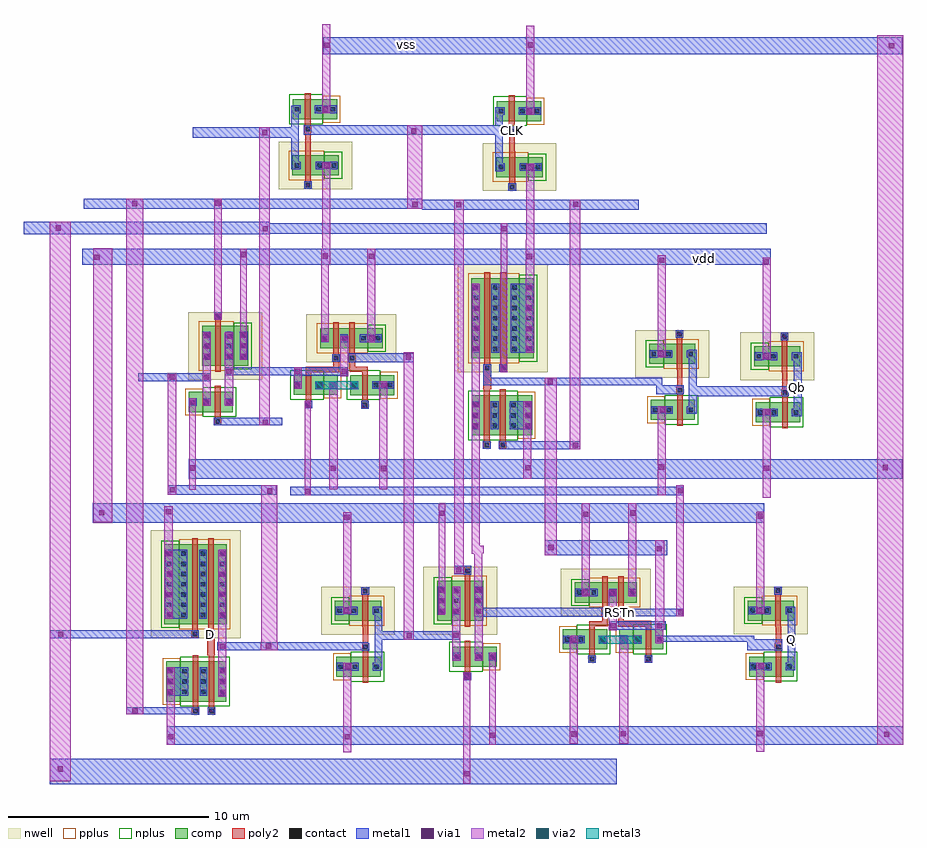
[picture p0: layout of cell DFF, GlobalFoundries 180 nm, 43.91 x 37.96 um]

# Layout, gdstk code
from math import pi, radians
import gdstk
lib = gdstk.Library(unit=1e-6, precision=5e-09)
def R(c, l, rs):  # rectangles x0, y0, x1, y1
    for r in rs: c.add(gdstk.rectangle(r[:2], r[2:], *l))
def A(c, l, x, y, w, h, nx, ny, dx, dy):  # array of equal rectangles
    R(c, l, [(x+i*dx, y+j*dy, x+i*dx+w, y+j*dy+h) for i in range(nx) for j in range(ny)])
nwell = (21, 0)
comp = (22, 0)
poly2 = (30, 0)
pplus = (31, 0)
nplus = (32, 0)
contact = (33, 0)
metal1 = (34, 0)
via1 = (35, 0)
metal2 = (36, 0)
via2 = (38, 0)
metal3 = (42, 0)

nfet_1 = lib.new_cell('nfet$1')
R(nfet_1, comp, [(-0.185,-0.05,0.525,0.95), (0.525,-0.05,0.945,0.95), (0.945,-0.05,1.605,0.95), (1.605,-0.05,2.025,0.95)])
R(nfet_1, poly2, [(1.095,-0.71,1.455,-0.35), (1.135,-0.35,1.415,1.25)])
R(nfet_1, pplus, [(-0.355,-0.22,0.525,1.12)])
R(nfet_1, nplus, [(0.525,-0.29,2.195,1.19)])
R(nfet_1, contact, [(1.165,-0.64,1.385,-0.42), (-0.085,0.34,0.135,0.56), (0.625,0.34,0.845,0.56), (1.705,0.34,1.925,0.56)])
R(nfet_1, metal1, [(1.085,-0.72,1.465,-0.34), (-0.165,0.26,0.215,0.64), (0.545,0.26,0.925,0.64), (1.625,0.26,2.005,0.64)])

pfet_1 = lib.new_cell('pfet$1')
R(pfet_1, nwell, [(-2.835,-0.64,0.855,2.74)])
R(pfet_1, comp, [(-2.145,0.05,-1.415,2.05), (-1.415,0.05,-0.955,2.05), (-0.955,0.05,-0.295,2.05), (-0.295,0.05,0.165,2.05)])
R(pfet_1, poly2, [(-0.815,-0.63,-0.435,-0.25), (-0.765,-0.25,-0.485,2.35)])
R(pfet_1, pplus, [(-1.415,-0.19,0.335,2.29)])
R(pfet_1, nplus, [(-2.315,-0.12,-1.415,2.22)])
A(pfet_1, contact, -2.025, 0.43, 0.22, 0.22, 1, 3, 0, 0.51)
A(pfet_1, contact, -1.295, 0.43, 0.22, 0.22, 1, 3, 0, 0.51)
A(pfet_1, contact, -0.175, 0.43, 0.22, 0.22, 1, 3, 0, 0.51)
R(pfet_1, contact, [(-0.735,-0.55,-0.515,-0.33)])
R(pfet_1, metal1, [(-0.815,-0.63,-0.435,-0.25), (-2.105,0.35,-1.725,1.75), (-1.375,0.35,-0.995,1.75), (-0.255,0.35,0.125,1.75)])

c_tg = lib.new_cell('TG')
R(c_tg, via1, [(-0.075,0.755,0.185,1.015), (0.625,0.76,0.885,1.02), (1.715,0.77,1.975,1.03), (0.64,3.035,0.9,3.295), (2.455,3.035,2.715,3.295), (1.75,3.045,2.01,3.305), (1.75,3.045,2.01,3.305), (0.635,3.56,0.895,3.82), (2.465,3.57,2.725,3.83), (1.74,4.055,2,4.315), (0.625,4.085,0.885,4.345), (2.465,4.095,2.725,4.355)])
R(c_tg, metal2, [(-0.115,-3.49,0.215,1.085), (0.555,0.7,0.95,4.385), (1.66,0.705,2.065,4.385), (2.415,2.995,2.755,8.55)])
c_tg.add(gdstk.Reference(nfet_1, (0.03,0.445)))
c_tg.add(gdstk.Reference(pfet_1, (0.685,4.745), rotation=pi))
c_tg.add(gdstk.Label('vdd', (2.57,3.955), layer=34, texttype=10))
c_tg.add(gdstk.Label('vss', (0.065,0.89), layer=34, texttype=10))
c_tg.add(gdstk.Label('c', (1.295,-0.1), layer=34, texttype=10))
c_tg.add(gdstk.Label('cbar', (1.295,5.16), layer=34, texttype=10))

pfet_1_1 = lib.new_cell('pfet$1$1')
R(pfet_1_1, nwell, [(-1.36,-1.15,3.13,4.23)])
R(pfet_1_1, comp, [(-0.67,-0.46,-0.21,3.54), (-0.21,-0.46,1.25,3.54), (1.25,-0.46,1.71,3.54), (1.71,-0.46,2.44,3.54)])
R(pfet_1_1, poly2, [(-0.02,-0.76,0.26,3.84), (0.78,-0.76,1.06,3.84), (-0.07,3.84,0.31,4.22), (0.73,3.84,1.11,4.22)])
R(pfet_1_1, pplus, [(-0.84,-0.7,1.71,3.78)])
R(pfet_1_1, nplus, [(1.71,-0.63,2.61,3.71)])
A(pfet_1_1, contact, -0.55, -0.1, 0.22, 0.22, 3, 7, 0.96, 0.51)
A(pfet_1_1, contact, 2.1, -0.1, 0.22, 0.22, 1, 7, 0, 0.51)
R(pfet_1_1, contact, [(0.01,3.92,0.23,4.14), (0.81,3.92,1.03,4.14)])
A(pfet_1_1, metal1, -0.63, -0.18, 0.38, 3.44, 3, 1, 0.96, 0)
R(pfet_1_1, metal1, [(2.02,-0.18,2.4,3.26), (-0.07,3.84,0.31,4.22), (0.73,3.84,1.11,4.22)])

nfet_1_1 = lib.new_cell('nfet$1$1')
R(nfet_1_1, comp, [(-0.63,-0.46,-0.21,1.54), (-0.21,-0.46,1.25,1.54), (1.25,-0.46,1.67,1.54), (1.67,-0.46,2.38,1.54)])
R(nfet_1_1, poly2, [(-0.02,-0.76,0.26,1.84), (0.78,-0.76,1.06,1.84), (-0.06,1.84,0.3,2.2), (0.74,1.84,1.1,2.2)])
R(nfet_1_1, pplus, [(1.67,-0.63,2.55,1.71)])
R(nfet_1_1, nplus, [(-0.8,-0.7,1.67,1.78)])
A(nfet_1_1, contact, -0.53, -0.08, 0.22, 0.22, 3, 3, 0.94, 0.51)
A(nfet_1_1, contact, 2.06, -0.08, 0.22, 0.22, 1, 3, 0, 0.51)
R(nfet_1_1, contact, [(0.01,1.91,0.23,2.13), (0.81,1.91,1.03,2.13)])
A(nfet_1_1, metal1, -0.61, -0.16, 0.38, 1.4, 3, 1, 0.94, 0)
R(nfet_1_1, metal1, [(1.98,-0.16,2.36,1.24), (-0.07,1.83,0.31,2.21), (0.73,1.83,1.11,2.21)])

tsi = lib.new_cell('TSI')
R(tsi, poly2, [(0.495,-5.51,0.89,-4.625)])
R(tsi, metal1, [(-1.53,-7.51,-0.44,-6.11), (-1.58,-3.675,-0.485,-0.235)])
R(tsi, via1, [(1.125,-7.47,1.385,-7.21), (-1.475,-7.465,-1.215,-7.205), (-1.465,-6.945,-1.205,-6.685), (1.13,-6.94,1.39,-6.68), (-1.475,-6.41,-1.215,-6.15), (1.12,-6.41,1.38,-6.15), (1.12,-3.615,1.38,-3.355), (-1.53,-3.605,-1.27,-3.345), (-1.535,-2.605,-1.275,-2.345), (1.11,-2.585,1.37,-2.325), (1.11,-1.585,1.37,-1.325), (-1.53,-1.57,-1.27,-1.31), (-1.535,-0.56,-1.275,-0.3), (1.135,-0.56,1.395,-0.3)])
R(tsi, metal2, [(-1.52,-9.97,-1.115,-6.11), (1.055,-7.58,1.46,-0.235), (-1.65,-3.675,-1.225,1.945)])
tsi.add(gdstk.Reference(pfet_1_1, (0.805,-0.415), rotation=pi))
tsi.add(gdstk.Reference(nfet_1_1, (0.83,-6.27), rotation=pi))
tsi.add(gdstk.Label('vss', (-1.37,-6.55), layer=34, texttype=10))
tsi.add(gdstk.Label('vdd', (-1.375,-1.57), layer=34, texttype=10))
tsi.add(gdstk.Label('cbar', (-0.095,-8.3), layer=34, texttype=10))
tsi.add(gdstk.Label('c', (-0.135,-4.45), layer=34, texttype=10))

pfet_1_2 = lib.new_cell('pfet$1$2')
R(pfet_1_2, nwell, [(-1.15,-0.69,3.34,1.69)])
R(pfet_1_2, comp, [(-0.46,0,0,1), (0,0,1.46,1), (1.46,0,1.92,1), (1.92,0,2.65,1)])
R(pfet_1_2, poly2, [(0.19,-0.3,0.47,1.3), (0.99,-0.3,1.27,1.3), (0.14,1.3,0.52,1.68), (0.94,1.3,1.32,1.68)])
R(pfet_1_2, pplus, [(-0.63,-0.24,1.92,1.24)])
R(pfet_1_2, nplus, [(1.92,-0.17,2.82,1.17)])
A(pfet_1_2, contact, -0.34, 0.39, 0.22, 0.22, 3, 1, 0.96, 0)
R(pfet_1_2, contact, [(2.31,0.39,2.53,0.61), (0.22,1.38,0.44,1.6), (1.02,1.38,1.24,1.6)])
A(pfet_1_2, metal1, -0.42, 0.31, 0.38, 0.38, 3, 1, 0.96, 0)
R(pfet_1_2, metal1, [(2.23,0.31,2.61,0.69), (0.14,1.3,0.52,1.68), (0.94,1.3,1.32,1.68)])

nfet = lib.new_cell('nfet')
R(nfet, comp, [(-0.42,0,0,1), (0,0,0.66,1), (0.66,0,1.08,1), (1.08,0,1.79,1)])
R(nfet, poly2, [(0.19,-0.3,0.47,1.3), (0.15,1.3,0.51,1.66)])
R(nfet, pplus, [(1.08,-0.17,1.96,1.17)])
R(nfet, nplus, [(-0.59,-0.24,1.08,1.24)])
R(nfet, contact, [(-0.32,0.39,-0.1,0.61), (0.76,0.39,0.98,0.61), (1.47,0.39,1.69,0.61), (0.22,1.37,0.44,1.59)])
R(nfet, metal1, [(-0.4,0.31,-0.02,0.69), (0.68,0.31,1.06,0.69), (1.39,0.31,1.77,0.69), (0.14,1.29,0.52,1.67)])

nand2 = lib.new_cell('NAND2')
R(nand2, poly2, [(-1.565,-0.695,0.09,-0.405), (-3.01,-0.67,-2.095,-0.41), (-1.565,-0.565,-1.285,-0.52), (-2.365,-0.54,-2.085,-0.165), (-1.565,-0.54,-1.285,-0.165)])
R(nand2, metal1, [(-3.93,-1.52,-3.565,-1.14), (-2.01,-0.85,0.815,-0.425), (-3.32,0.825,-2.97,1.2)])
R(nand2, via1, [(-3.925,-1.47,-3.665,-1.21), (-2.46,-1.47,-2.2,-1.21), (0.365,-1.455,0.625,-1.195), (-1.435,-1.45,-1.175,-1.19), (-0.715,-1.45,-0.455,-1.19), (0.375,-0.78,0.635,-0.52), (-1.955,-0.775,-1.695,-0.515), (-0.985,0.88,-0.725,1.14), (-3.325,0.885,-3.065,1.145), (-1.955,0.89,-1.695,1.15)])
R(nand2, metal2, [(-3.985,-6.53,-3.57,-1.14), (-1.51,-6.53,-1.065,-1.19), (-2.52,-1.52,-2.14,-1.14), (-0.775,-1.51,-0.38,-1.13), (0.295,-1.51,0.68,-0.44), (-2.025,-0.875,-1.63,1.15), (-3.37,0.825,-2.975,5.485), (-1.055,0.83,-0.67,5.485)])
R(nand2, via2, [(-2.46,-1.47,-2.2,-1.21), (-0.715,-1.45,-0.455,-1.19)])
R(nand2, metal3, [(-2.52,-1.545,-0.38,-1.145)])
nand2.add(gdstk.Reference(pfet_1_2, (-1.09,1.515), rotation=pi))
nand2.add(gdstk.Reference(nfet, (-2.54,-0.83), rotation=pi))
nand2.add(gdstk.Reference(nfet, (0.28,-0.82), rotation=pi))
nand2.add(gdstk.Label('vss', (-3.785,-1.325), layer=34, texttype=10))
nand2.add(gdstk.Label('vdd', (-3.11,0.99), layer=34, texttype=10))
nand2.add(gdstk.Label('vss', (-1.325,-1.32), layer=34, texttype=10))

pfet = lib.new_cell('pfet')
R(pfet, nwell, [(-2.735,-1.59,0.955,0.79)])
R(pfet, comp, [(-2.045,-0.9,-1.585,0.1), (-1.585,-0.9,-0.925,0.1), (-0.925,-0.9,-0.465,0.1), (-0.465,-0.9,0.265,0.1)])
R(pfet, poly2, [(-1.395,-1.2,-1.115,0.4), (-1.445,0.4,-1.065,0.78)])
R(pfet, pplus, [(-2.215,-1.14,-0.465,0.34)])
R(pfet, nplus, [(-0.465,-1.07,0.435,0.27)])
R(pfet, contact, [(-1.925,-0.51,-1.705,-0.29), (-0.805,-0.51,-0.585,-0.29), (-0.075,-0.51,0.145,-0.29), (-1.365,0.48,-1.145,0.7)])
R(pfet, metal1, [(-2.005,-0.59,-1.625,-0.21), (-0.885,-0.59,-0.505,-0.21), (-0.155,-0.59,0.225,-0.21), (-1.445,0.4,-1.065,0.78)])

nfet_2 = lib.new_cell('nfet$2')
R(nfet_2, comp, [(-2.005,-0.9,-1.585,0.1), (-1.585,-0.9,-0.925,0.1), (-0.925,-0.9,-0.505,0.1), (-0.505,-0.9,0.205,0.1)])
R(nfet_2, poly2, [(-1.395,-1.2,-1.115,0.4), (-1.435,0.4,-1.075,0.76)])
R(nfet_2, pplus, [(-0.505,-1.07,0.375,0.27)])
R(nfet_2, nplus, [(-2.175,-1.14,-0.505,0.34)])
R(nfet_2, contact, [(-1.905,-0.51,-1.685,-0.29), (-0.825,-0.51,-0.605,-0.29), (-0.115,-0.51,0.105,-0.29), (-1.365,0.47,-1.145,0.69)])
R(nfet_2, metal1, [(-1.985,-0.59,-1.605,-0.21), (-0.905,-0.59,-0.525,-0.21), (-0.195,-0.59,0.185,-0.21), (-1.445,0.39,-1.065,0.77)])

inv = lib.new_cell('inv')
R(inv, poly2, [(-3.02,3.26,-2.75,4.1)])
R(inv, metal1, [(-3.73,1.915,-3.345,5.095), (-2.19,1.93,-1.815,2.29), (-2.125,4.72,-1.775,5.07)])
R(inv, via1, [(-2.145,1.985,-1.885,2.245), (-2.08,4.79,-1.82,5.05)])
R(inv, metal2, [(-2.175,-2.16,-1.775,2.29), (-2.18,4.74,-1.775,9.83)])
inv.add(gdstk.Reference(pfet, (-1.62,5.3)))
inv.add(gdstk.Reference(nfet_2, (-1.64,2.5)))
inv.add(gdstk.Label('vdd', (-1.96,5.04), layer=34, texttype=10))
inv.add(gdstk.Label('vss', (-2.025,2.125), layer=34, texttype=10))

dff = lib.new_cell('DFF')
R(dff, metal1, [(-11.615,-18.275,16.705,-17.005), (-5.78,-16.305,31,-15.385), (-7.8,-14.8,-4.16,-14.445), (-3.255,-11.605,4.275,-11.205), (23.215,-11.585,23.585,-11.18), (23.575,-11.585,24.96,-11.05), (18.61,-11.18,23.575,-10.86), (4.62,-11.08,8.89,-10.64), (-11.615,-10.99,-4.19,-10.6), (9.57,-9.92,16.305,-9.475), (16.72,-9.89,20.055,-9.515), (8.58,-7.79,9.43,-7.37), (13.09,-6.845,19.22,-6.11), (-9.475,-5.215,24.065,-4.26), (0.39,-3.86,20.055,-3.42), (-5.74,-3.825,-0.305,-3.365), (-4.68,-3.025,30.96,-2.065), (10.83,-1.55,14.885,-1.165), (-3.415,-0.365,-0.01,0.015), (20.32,1.08,25.29,1.58), (18.67,1.2,20.045,1.63), (18.67,1.48,18.98,2.005), (10.025,1.645,18.67,2.02), (10.04,1.67,10.42,2.69), (-7.205,1.845,-3.585,2.235), (-2.875,2.135,0.96,2.55), (3.305,2.8,6.565,3.25), (-9.99,7.655,24.385,8.46), (-12.915,9.195,-0.63,9.82), (-1.15,9.215,24.195,9.73), (6.985,10.405,17.805,10.9), (-9.92,10.465,6.985,10.955), (-4.48,14.015,0.8,14.53), (1.075,14.165,10.99,14.635), (2.045,18.17,30.945,19.02)])
R(dff, via1, [(9.085,-17.9,9.345,-17.64), (-11.235,-17.655,-10.975,-17.395), (-5.715,-16.045,-5.455,-15.785), (3.1,-16.045,3.36,-15.785), (10.37,-15.965,10.63,-15.705), (30.05,-15.915,30.31,-15.655), (14.43,-15.91,14.69,-15.65), (16.885,-15.9,17.145,-15.64), (23.725,-15.885,23.985,-15.625), (-7.5,-14.755,-7.24,-14.495), (9.1,-13.04,9.36,-12.78), (-3.12,-11.52,-2.86,-11.26), (-0.825,-11.51,-0.565,-11.25), (6.205,-10.99,6.465,-10.73), (8.54,-10.97,8.8,-10.71), (-11.21,-10.925,-10.95,-10.665), (19.76,-9.82,20.02,-9.56), (8.68,-7.71,8.94,-7.45), (18.69,-6.65,18.95,-6.39), (13.28,-6.595,13.54,-6.335), (3.09,-5.08,3.35,-4.82), (23.735,-5.015,23.995,-4.755), (15.025,-4.93,15.285,-4.67), (7.825,-4.885,8.085,-4.625), (17.36,-4.87,17.62,-4.61), (-9.16,-4.855,-8.9,-4.595), (-5.82,-4.805,-5.56,-4.545), (1.13,-3.78,1.39,-3.52), (-0.765,-3.77,-0.505,-3.51), (19.745,-3.76,20.005,-3.5), (-5.635,-3.715,-5.375,-3.455), (4.915,-2.65,5.175,-2.39), (2.41,-2.63,2.67,-2.37), (24.045,-2.63,24.305,-2.37), (-4.625,-2.62,-4.365,-2.36), (12.12,-2.605,12.38,-2.345), (29.98,-2.595,30.24,-2.335), (18.805,-2.575,19.065,-2.315), (14.505,-1.49,14.765,-1.23), (-0.99,-0.33,-0.73,-0.07), (1.14,0.54,1.4,0.8), (13.24,1.695,13.5,1.955), (-3.915,1.91,-3.655,2.17), (-5.65,1.915,-5.39,2.175), (-2.805,2.215,-2.545,2.475), (10.93,2.39,11.19,2.65), (6.155,2.92,6.415,3.18), (-3.35,4.945,-3.09,5.205), (24.035,7.685,24.295,7.945), (18.82,7.755,19.08,8.015), (-9.39,7.9,-9.13,8.16), (12.205,7.94,12.465,8.2), (4.315,7.955,4.575,8.215), (2,7.965,2.26,8.225), (-2.075,8.045,-1.815,8.305), (-2.075,8.045,-1.815,8.305), (-0.985,9.325,-0.725,9.585), (10.935,9.325,11.195,9.585), (-11.325,9.365,-11.065,9.625), (8.67,10.53,8.93,10.79), (6.495,10.54,6.755,10.8), (14.515,10.55,14.775,10.81), (-7.505,10.59,-7.245,10.85), (-3.35,10.61,-3.09,10.87), (-1.015,14.135,-0.755,14.395), (6.425,14.21,6.685,14.47), (30.29,18.475,30.55,18.735), (2.09,18.49,2.35,18.75), (12.245,18.51,12.505,18.77)])
R(dff, metal2, [(9.035,-18.27,9.375,-12.705), (-11.615,-18.14,-10.585,-10.63), (29.71,-16.305,31,-2.065), (-7.805,-14.8,-6.95,10.955), (-1.075,-11.59,-0.245,-11.19), (-1.05,-11.205,-0.25,-3.365), (-11.615,-11.12,-10.585,9.82), (6.065,-11.08,6.565,3.3), (18.63,-10.575,19.075,-6.11), (9.575,-9.92,9.985,-6.58), (19.68,-9.89,20.055,-3.35), (8.58,-7.78,9.05,10.9), (13.09,-6.86,13.69,2.02), (9.455,-6.775,9.86,-0.205), (9.455,-6.75,10.05,-6.385), (-9.455,-5.19,-8.5,8.485), (1.12,-3.86,1.415,0.865), (-5.74,-3.82,-5.315,2.22), (29.7,-3.07,31,19.135), (14.35,-1.55,14.885,10.9), (-1.15,-0.365,-0.63,14.53), (10.905,2.3,11.225,9.73), (-3.41,4.92,-3.035,10.955), (6.23,10.465,6.985,14.635)])
dff.add(gdstk.Reference(c_tg, (-4.535,-0.09)))
dff.add(gdstk.Reference(tsi, (-4.26,-6.345)))
dff.add(gdstk.Reference(nand2, (1.26,2.975), rotation=pi, x_reflection=True))
dff.add(gdstk.Reference(inv, (1.26,-14.52), rotation=pi, x_reflection=True))
dff.add(gdstk.Reference(c_tg, (10.55,-12.815), rotation=pi, x_reflection=True))
dff.add(gdstk.Reference(tsi, (10.915,6.945), rotation=pi, x_reflection=True))
dff.add(gdstk.Reference(nand2, (18.33,-9.725)))
dff.add(gdstk.Reference(inv, (21.885,-14.51), rotation=pi, x_reflection=True))
dff.add(gdstk.Reference(inv, (16.96,-1.69), rotation=pi, x_reflection=True))
dff.add(gdstk.Reference(inv, (22.205,-1.81), rotation=pi, x_reflection=True))
dff.add(gdstk.Reference(inv, (4.16,17.525), x_reflection=True))
dff.add(gdstk.Reference(inv, (14.35,17.435), x_reflection=True))
dff.add(gdstk.Label('vss', (6.175,18.645), layer=34, texttype=10))
dff.add(gdstk.Label('vdd', (21.1,7.99), layer=34, texttype=10))
dff.add(gdstk.Label('CLK', (11.475,14.36), layer=34, texttype=10))
dff.add(gdstk.Label('D', (-3.585,-10.81), layer=34, texttype=10))
dff.add(gdstk.Label('RSTn', (16.885,-9.715), layer=34, texttype=10))
dff.add(gdstk.Label('Q', (25.425,-11.065), layer=34, texttype=10))
dff.add(gdstk.Label('Qb', (25.74,1.515), layer=34, texttype=10))

lib.write_gds('DFF.gds')
